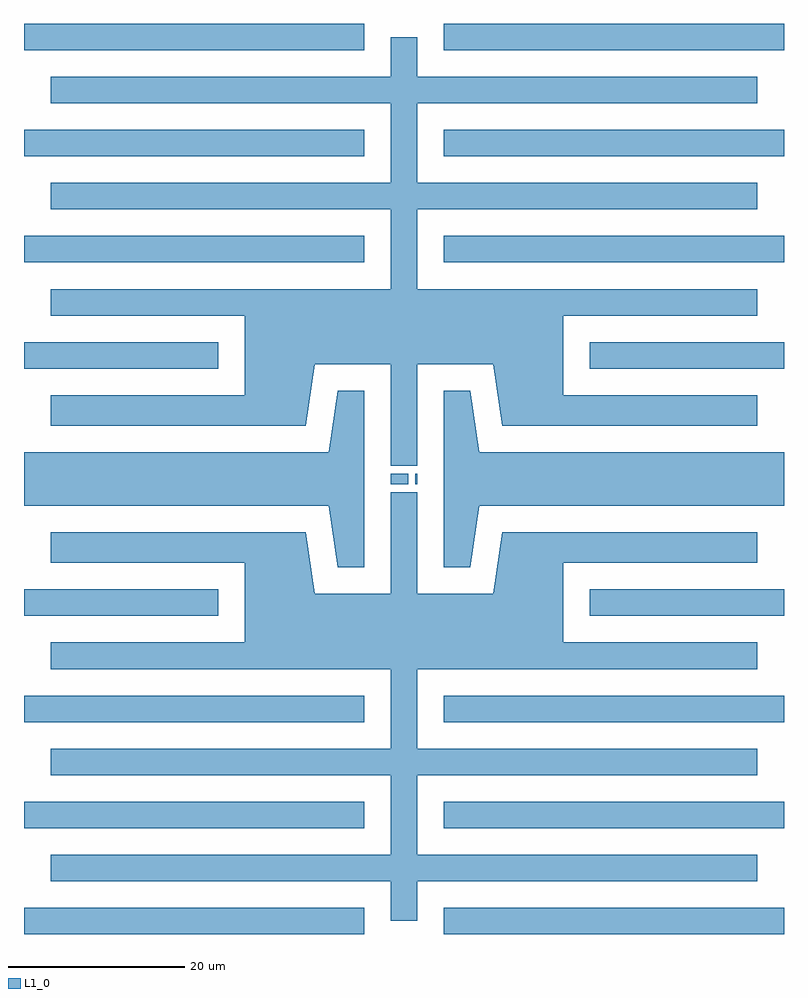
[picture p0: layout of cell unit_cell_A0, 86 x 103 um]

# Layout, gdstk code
from math import pi, radians
import gdstk
lib = gdstk.Library(unit=1e-6, precision=1e-09)
def R(c, l, rs):  # rectangles x0, y0, x1, y1
    for r in rs: c.add(gdstk.rectangle(r[:2], r[2:], *l))
def P(c, l, *ps):  # polygons
    for p in ps: c.add(gdstk.Polygon(p, *l))
L1_0 = (1, 0)

unnamed_386 = lib.new_cell('Unnamed_386')
P(unnamed_386, L1_0, [(38.5,0),(38.5,4.5),(0,4.5),(0,7.5),(38.5,7.5),(38.5,16.5),(0,16.5),(0,19.5),(38.5,19.5),(38.5,28.5),(0,28.5),(0,31.5),(22,31.5),(22,40.5),(0,40.5),(0,44),(28.898,44),(29.898,37),(38.5,37),(38.5,48.5),(40,48.5),(40,0)])

straight_l38p5_n2_csxs_e = lib.new_cell('straight_L38p5_N2_CSxs_e9659eb0')
R(straight_l38p5_n2_csxs_e, L1_0, [(0,-1.5,38.5,1.5)])

straight_array_n3_s9_l3_ = lib.new_cell('straight_array_N3_S9_L3_b91b2c6a')
straight_array_n3_s9_l3_.add(gdstk.Reference(straight_l38p5_n2_csxs_e, (0,0)))
straight_array_n3_s9_l3_.add(gdstk.Reference(straight_l38p5_n2_csxs_e, (0,12)))
straight_array_n3_s9_l3_.add(gdstk.Reference(straight_l38p5_n2_csxs_e, (0,24)))

straight_l22_n2_csxs_e96 = lib.new_cell('straight_L22_N2_CSxs_e9659eb0')
R(straight_l22_n2_csxs_e96, L1_0, [(0,-1.5,22,1.5)])

unnamed_381 = lib.new_cell('Unnamed_381')
unnamed_381.add(gdstk.Reference(straight_array_n3_s9_l3_, (-3,0)))
unnamed_381.add(gdstk.Reference(straight_l22_n2_csxs_e96, (-3,36)))

straight_l34p5_n2_csxs_4 = lib.new_cell('straight_L34p5_N2_CSxs_41e8578a')
R(straight_l34p5_n2_csxs_4, L1_0, [(0,-3,34.5,3)])

triangle_x10_x3_y4_y3_l1 = lib.new_cell('triangle_X10_X3_Y4_Y3_L1_0')
P(triangle_x10_x3_y4_y3_l1, L1_0, [(0,0),(0,4),(3,4),(10,3),(10,0)])

unnamed_384 = lib.new_cell('Unnamed_384')
unnamed_384.add(gdstk.Reference(straight_l34p5_n2_csxs_4, (-3,50)))
unnamed_384.add(gdstk.Reference(triangle_x10_x3_y4_y3_l1, (35.5,50), rotation=3*pi/2, x_reflection=True))

unnamed_387 = lib.new_cell('Unnamed_387')
unnamed_387.add(gdstk.Reference(unnamed_386, (0,0)))
unnamed_387.add(gdstk.Reference(unnamed_381, (0,0)))
unnamed_387.add(gdstk.Reference(unnamed_384, (0,0)))

rectangle_s2_0p6_lwg_cf_ = lib.new_cell('rectangle_S2_0p6_LWG_CF_a6a46f17')
R(rectangle_s2_0p6_lwg_cf_, L1_0, [(0,0,2,0.6)])

rectangle_s0p2_1p2_lwg__ = lib.new_cell('rectangle_S0p2_1p2_LWG__107b6a9b')
R(rectangle_s0p2_1p2_lwg__, L1_0, [(0,0,0.2,1.2)])

unnamed_388 = lib.new_cell('Unnamed_388')
unnamed_388.add(gdstk.Reference(rectangle_s2_0p6_lwg_cf_, (0,0)))
unnamed_388.add(gdstk.Reference(rectangle_s0p2_1p2_lwg__, (2.8,-0.6)))

unit_cell_a0 = lib.new_cell('unit_cell_A0')
unit_cell_a0.add(gdstk.Reference(unnamed_387, (0,0)))
unit_cell_a0.add(gdstk.Reference(unnamed_387, (80,0), rotation=pi, x_reflection=True))
unit_cell_a0.add(gdstk.Reference(unnamed_387, (0,100), x_reflection=True))
unit_cell_a0.add(gdstk.Reference(unnamed_387, (80,100), rotation=pi))
unit_cell_a0.add(gdstk.Reference(unnamed_388, (38.5,50)))
unit_cell_a0.add(gdstk.Reference(unnamed_388, (38.5,50), x_reflection=True))

lib.write_gds('unit_cell_A0.gds')
